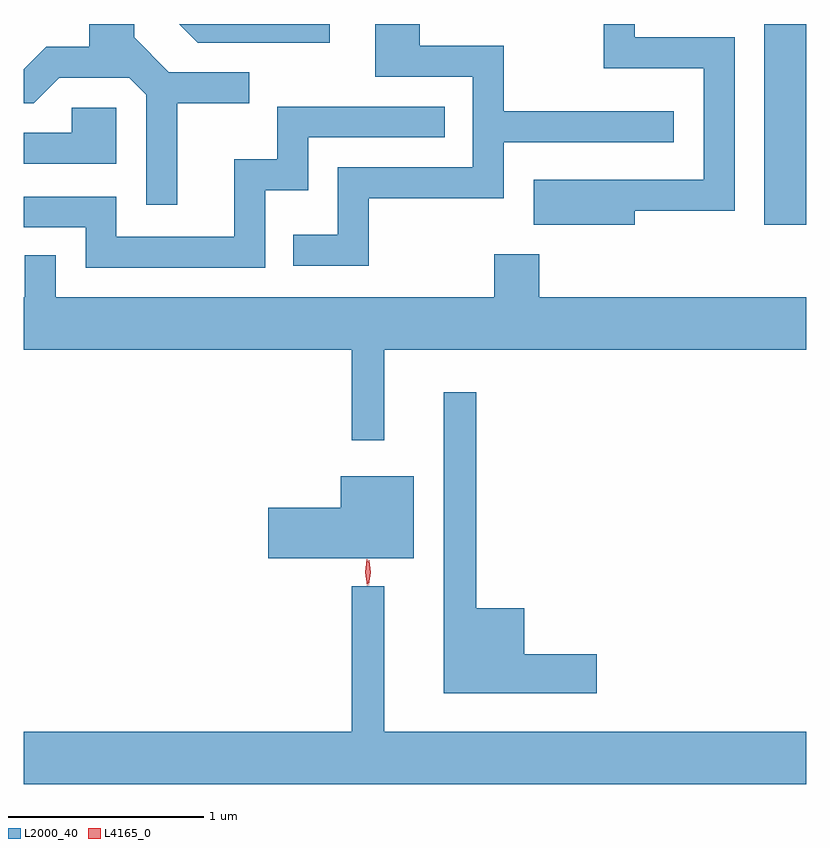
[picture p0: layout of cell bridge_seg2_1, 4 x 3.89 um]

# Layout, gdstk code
import gdstk
lib = gdstk.Library(unit=1e-6, precision=1e-09)
def R(c, l, rs):  # rectangles x0, y0, x1, y1
    for r in rs: c.add(gdstk.rectangle(r[:2], r[2:], *l))
def P(c, l, *ps):  # polygons
    for p in ps: c.add(gdstk.Polygon(p, *l))
L2000_40 = (2000, 40)
L4165_0 = (4165, 0)

bridge_seg2_1 = lib.new_cell('bridge_seg2_1')
R(bridge_seg2_1, L2000_40, [(1838.061,1082.256,1838.275,1083.281)])
P(bridge_seg2_1, L2000_40, [(1834.276,1083.281),(1834.275,1083.281),(1834.275,1083.28)],
  [(1835.839,1083.281),(1835.069,1083.281),(1835.164,1083.186),(1835.839,1083.186)],
  [(1837.399,1082.326),(1837.909,1082.326),(1837.909,1083.214),(1837.399,1083.214),(1837.399,1083.281),(1837.241,1083.281),(1837.241,1083.056),(1837.751,1083.056),(1837.751,1082.484),(1836.881,1082.484),(1836.881,1082.256),(1837.399,1082.256)],
  [(1835.059,1082.876),(1835.428,1082.876),(1835.428,1083.034),(1835.017,1083.034),(1834.839,1083.212),(1834.839,1083.281),(1834.611,1083.281),(1834.611,1083.164),(1834.389,1083.164),(1834.275,1083.05),(1834.275,1082.876),(1834.327,1082.876),(1834.457,1083.006),(1834.814,1083.006),(1834.901,1082.919),(1834.901,1082.358),(1835.059,1082.358)],
  [(1836.039,1082.391),(1836.729,1082.391),(1836.729,1082.676),(1837.598,1082.676),(1837.598,1082.834),(1836.729,1082.834),(1836.729,1083.169),(1836.299,1083.169),(1836.299,1083.281),(1836.071,1083.281),(1836.071,1083.011),(1836.571,1083.011),(1836.571,1082.549),(1835.881,1082.549),(1835.881,1082.204),(1835.653,1082.204),(1835.653,1082.046),(1836.039,1082.046)],
  [(1835.509,1082.431),(1835.729,1082.431),(1835.729,1082.701),(1836.428,1082.701),(1836.428,1082.859),(1835.571,1082.859),(1835.571,1082.589),(1835.351,1082.589),(1835.351,1082.194),(1834.749,1082.194),(1834.749,1082.399),(1834.275,1082.399),(1834.275,1082.241),(1834.591,1082.241),(1834.591,1082.036),(1835.509,1082.036)],
  [(1834.749,1082.854),(1834.521,1082.854),(1834.521,1082.724),(1834.275,1082.724),(1834.275,1082.566),(1834.749,1082.566)],
  [(1836.119,1081.616),(1838.275,1081.616),(1838.275,1081.884),(1836.909,1081.884),(1836.909,1082.104),(1836.681,1082.104),(1836.681,1081.884),(1834.439,1081.884),(1834.439,1082.098),(1834.281,1082.098),(1834.281,1081.884),(1834.275,1081.884),(1834.275,1081.616),(1835.951,1081.616),(1835.951,1081.153),(1836.119,1081.153)],
  [(1837.204,1080.059),(1836.834,1080.059),(1836.834,1080.294),(1836.589,1080.294),(1836.589,1081.398),(1836.421,1081.398),(1836.421,1079.861),(1837.204,1079.861)],
  [(1836.269,1080.969),(1835.896,1080.969),(1835.896,1080.809),(1835.526,1080.809),(1835.526,1080.551),(1836.269,1080.551)],
  [(1838.275,1079.664),(1836.119,1079.664),(1836.119,1080.408),(1835.951,1080.408),(1835.951,1079.664),(1834.275,1079.664),(1834.275,1079.396),(1838.275,1079.396)])
P(bridge_seg2_1, L4165_0, [(1836.03,1080.41),(1836.03,1080.41),(1836.02,1080.478),(1836.029,1080.545),(1836.03,1080.546),(1836.03,1080.545),(1836.04,1080.478),(1836.031,1080.41)],
  [(1836.038,1080.413),(1836.038,1080.414),(1836.029,1080.476),(1836.039,1080.539),(1836.04,1080.54),(1836.04,1080.539),(1836.049,1080.476),(1836.039,1080.414)])

lib.write_gds('bridge_seg2_1.gds')
